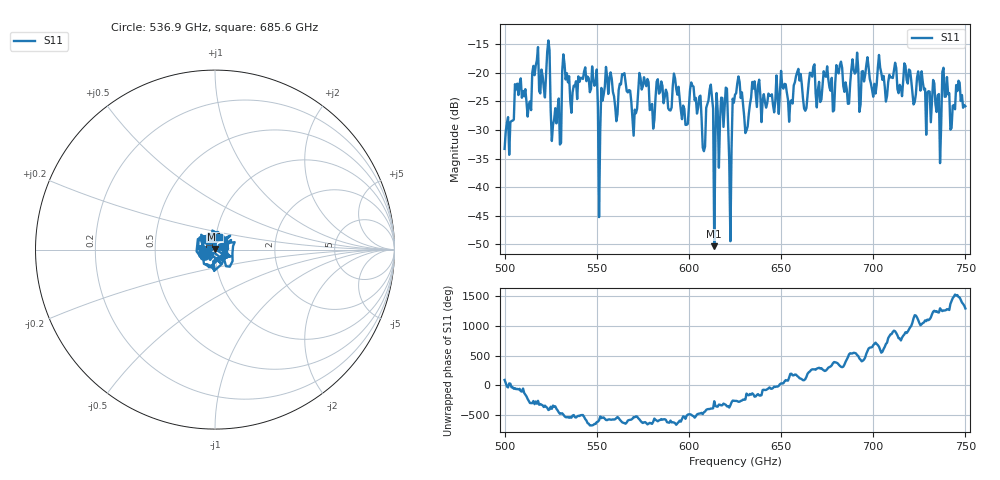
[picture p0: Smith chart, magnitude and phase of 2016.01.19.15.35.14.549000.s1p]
!Created with skrf (http://scikit-rf.org).
# GHz S RI R 50.0
!freq ReS11 ImS11
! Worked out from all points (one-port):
!   401 points, 500 GHz to 750 GHz, reference 50 ohm
!   lowest |S11| = -50.4 dB at 613.8 GHz (marker M1), VSWR 1.01, Z = 50 + j0.304 ohm
!   |S11| at or under -10 dB: start of sweep to end of sweep
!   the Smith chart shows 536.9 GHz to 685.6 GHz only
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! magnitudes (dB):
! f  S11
! 500 GHz  -33.3
! 506.9 GHz  -21.9
! 513.1 GHz  -25.6
! 516.9 GHz  -18.7
! 523.8 GHz  -14.3
! 526.9 GHz  -28.1
! 531.2 GHz  -19.6
! 548.8 GHz  -22.2
! 551.9 GHz  -30.2
! 556.2 GHz  -23.7
! 562.5 GHz  -21.9
! 570.6 GHz  -26.4
! 574.4 GHz  -22.9
! 580 GHz  -25.4
! 593.8 GHz  -23.8
! 608.1 GHz  -33.7
! 611.9 GHz  -22.0
! 613.8 GHz  -50.4
! 619.4 GHz  -26.0
! 622.5 GHz  -49.5
! 625 GHz  -23.8
! 631.2 GHz  -30.1
! 635 GHz  -22.7
! 656.2 GHz  -25.4
! 687.5 GHz  -21.8
! 718.8 GHz  -21.9
! 735.6 GHz  -23.7
! 750 GHz  -25.8
